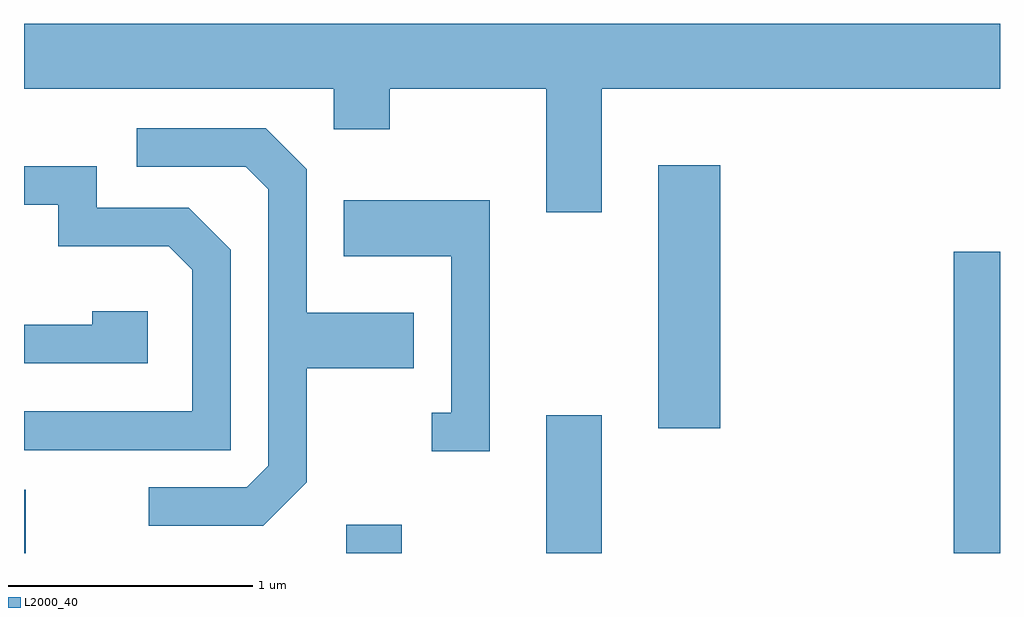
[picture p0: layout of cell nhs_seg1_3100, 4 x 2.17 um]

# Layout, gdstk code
import gdstk
lib = gdstk.Library(unit=1e-6, precision=1e-09)
def R(c, l, rs):  # rectangles x0, y0, x1, y1
    for r in rs: c.add(gdstk.rectangle(r[:2], r[2:], *l))
def P(c, l, *ps):  # polygons
    for p in ps: c.add(gdstk.Polygon(p, *l))
L2000_40 = (2000, 40)

nhs_seg1_3100 = lib.new_cell('nhs_seg1_3100')
R(nhs_seg1_3100, L2000_40, [(279.611,857.712,279.619,857.974), (280.931,857.712,281.159,857.829), (281.751,857.712,281.979,858.279), (283.421,857.712,283.611,858.949), (282.211,858.226,282.464,859.304)])
P(nhs_seg1_3100, L2000_40, [(281.979,859.616),(283.611,859.616),(283.611,859.884),(279.611,859.884),(279.611,859.616),(280.881,859.616),(280.881,859.451),(281.109,859.451),(281.109,859.616),(281.751,859.616),(281.751,859.111),(281.979,859.111)],
  [(280.769,858.004),(280.769,858.471),(281.209,858.471),(281.209,858.699),(280.769,858.699),(280.769,859.287),(280.602,859.454),(280.073,859.454),(280.073,859.296),(280.519,859.296),(280.611,859.204),(280.611,858.072),(280.524,857.984),(280.123,857.984),(280.123,857.826),(280.592,857.826)],
  [(280.459,858.957),(280.287,859.129),(279.909,859.129),(279.909,859.299),(279.611,859.299),(279.611,859.141),(279.751,859.141),(279.751,858.971),(280.204,858.971),(280.301,858.874),(280.301,858.294),(279.611,858.294),(279.611,858.136),(280.459,858.136)],
  [(281.519,859.159),(280.921,859.159),(280.921,858.931),(281.361,858.931),(281.361,858.289),(281.283,858.289),(281.283,858.131),(281.519,858.131)],
  [(280.119,858.704),(279.891,858.704),(279.891,858.649),(279.611,858.649),(279.611,858.491),(280.119,858.491)])

lib.write_gds('nhs_seg1_3100.gds')
